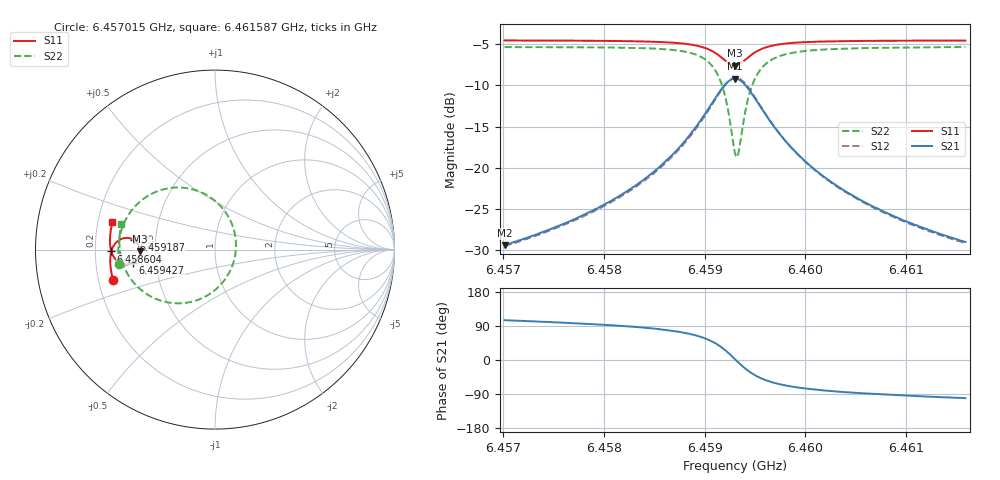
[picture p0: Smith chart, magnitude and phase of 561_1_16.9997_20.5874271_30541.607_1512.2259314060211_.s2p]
#  HZ  S  RI  R  50.00
! Rohde & Schwarz Vector Network Analyzer
! Rohde-Schwarz,ZNB20-2Port,1311601062101988,3.16
! Created: UTC 3/20/2024, 11:17:12 PM
! freq[Hz]  re:S11  im:S11  re:S21  im:S21  re:S12  im:S12  re:S22  im:S22
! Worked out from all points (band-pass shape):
!   401 points, 6.457015 GHz to 6.461587 GHz, reference 50 ohm
!   highest |S21| = -9.18 dB at 6.459301 GHz (marker M1); lowest = -29.4 dB at 6.457015 GHz (marker M2)
!   |S21| within 3 dB of the highest: 6.459072 GHz to 6.45953 GHz (457.7 kHz wide, 0.00709 % of centre)
!   lowest |S11| = -7.6 dB at 6.459301 GHz (marker M3), VSWR 2.43, Z = 20.6 - j0.444 ohm
!   |S11| at or under -10 dB: nowhere
!   |S22| runs from -18.7 to -5.3 dB; largest |S21 - S12| = 0.014
!   S11 on the Smith chart (normalised r, x): 6.457015 GHz: 0.26, -0.14; 6.458604 GHz: 0.27, -0.01; 6.459187 GHz: 0.37, +0.05; 6.459427 GHz: 0.37, -0.07; 6.461587 GHz: 0.26, +0.12
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6.4570149e9  -0.5676 -0.1693  -0.00879 0.0327  -0.00701 0.0327  -0.5336 -0.0815
6.4577808e9  -0.5811 -0.1021  -0.00539 0.0508  -0.00282 0.05  -0.5383 0.00868
6.4581923e9  -0.5838 -0.0609  0.000425 0.0697  0.00375 0.0683  -0.5302 0.0741
6.4585466e9  -0.5798 -0.0185  0.0147 0.0993  0.0186 0.0965  -0.5037 0.1541
6.4586038e9  -0.5779 -0.0105  0.0192 0.1063  0.0232 0.1032  -0.4955 0.1707
6.4588096e9  -0.5647 0.0215  0.0471 0.1388  0.0512 0.1337  -0.4431 0.2436
6.4589581e9  -0.5418 0.0476  0.0926 0.1692  0.0959 0.1625  -0.3587 0.308
6.4590953e9  -0.4978 0.065  0.1804 0.1855  0.1813 0.1781  -0.198 0.346
6.4591868e9  -0.4531 0.0546  0.2707 0.1537  0.2709 0.1479  -0.0306 0.2944
6.4592553e9  -0.424 0.0223  0.3312 0.0814  0.3335 0.076  0.085 0.1637
6.4593011e9  -0.4171 -0.00892  0.3475 0.013  0.3513 0.00603  0.1169 0.0356
6.4593125e9  -0.4176 -0.017  0.3473 -0.00473  0.3512 -0.0126  0.1164 0.0018
6.4593354e9  -0.421 -0.0327  0.3416 -0.0397  0.3455 -0.0489  0.1049 -0.0645
6.4593811e9  -0.4369 -0.0589  0.3127 -0.0999  0.3149 -0.1119  0.0466 -0.1784
6.4594268e9  -0.459 -0.0751  0.2703 -0.1411  0.2694 -0.1545  -0.0395 -0.2534
6.4595182e9  -0.5027 -0.0821  0.1849 -0.172  0.1787 -0.1838  -0.2098 -0.2994
6.4596668e9  -0.5465 -0.0616  0.0963 -0.158  0.0877 -0.1643  -0.3787 -0.249
6.4598269e9  -0.5682 -0.0338  0.0514 -0.1297  0.0436 -0.1325  -0.4593 -0.1761
6.4600669e9  -0.5809 0.00168  0.0221 -0.0979  0.0162 -0.0985  -0.5073 -0.0929
6.460387e9  -0.5853 0.0402  0.00674 -0.0722  0.00257 -0.0718  -0.5281 -0.0179
6.4608328e9  -0.5835 0.0852  -0.00165 -0.0523  -0.00451 -0.0513  -0.5328 0.0549
6.4615872e9  -0.5712 0.1522  -0.00666 -0.0348  -0.00831 -0.0338  -0.5213 0.1445
